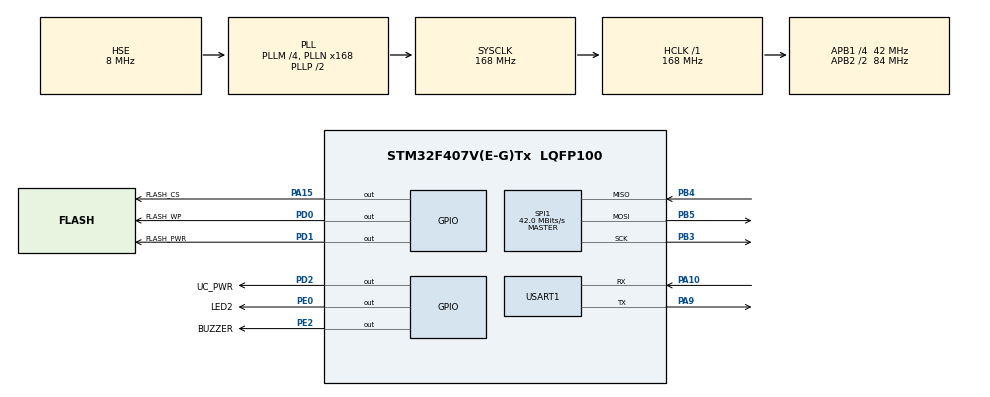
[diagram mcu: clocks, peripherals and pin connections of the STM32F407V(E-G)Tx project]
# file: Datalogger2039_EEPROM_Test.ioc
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Mcu.Family=STM32F4
RCC.PLLSourceVirtual=RCC_PLLSOURCE_HSE
PH0-OSC_IN.Signal=RCC_OSC_IN
RCC.CortexFreq_Value=168000000
PA10.Mode=Asynchronous
SPI1.VirtualType=VM_MASTER
VP_IWDG_VS_IWDG.Mode=IWDG_Activate
PE2.GPIO_Speed=GPIO_SPEED_FREQ_VERY_HIGH
PD0.GPIO_Label=FLASH_WP
PD1.Signal=GPIO_Output
PD2.GPIO_Speed=GPIO_SPEED_FREQ_VERY_HIGH
RCC.APB1CLKDivider=RCC_HCLK_DIV4
RCC.SYSCLKSource=RCC_SYSCLKSOURCE_PLLCLK
ProjectManager.StackSize=0x400
PD0.GPIO_Speed=GPIO_SPEED_FREQ_VERY_HIGH
PE0.GPIO_Speed=GPIO_SPEED_FREQ_VERY_HIGH
PA15.GPIO_Label=FLASH_CS
PA9.Mode=Asynchronous
ProjectManager.TargetToolchain=STM32CubeIDE
SPI1.Direction=SPI_DIRECTION_2LINES
RCC.HCLKFreq_Value=168000000
RCC.APB2TimFreq_Value=168000000
PA9.Signal=USART1_TX
SPI1.CalculateBaudRate=42.0 MBits/s
PD0.Signal=GPIO_Output
RCC.LSE_VALUE=32768
RCC.AHBFreq_Value=168000000
PH0-OSC_IN.Mode=HSE-External-Oscillator
RCC.HSE_VALUE=8000000
PD2.PinState=GPIO_PIN_SET
PB3.Mode=Full_Duplex_Master
board=custom
RCC.VCOOutputFreq_Value=336000000
PD1.GPIO_Label=FLASH_PWR
PA15.PinState=GPIO_PIN_SET
RCC.APB2Freq_Value=84000000
PB4.Mode=Full_Duplex_Master
PD1.GPIO_Speed=GPIO_SPEED_FREQ_VERY_HIGH
SPI1.Mode=SPI_MODE_MASTER
PB5.Mode=Full_Duplex_Master
PH1-OSC_OUT.Signal=RCC_OSC_OUT
PE2.Signal=GPIO_Output
Mcu.Name=STM32F407V(E-G)Tx
PE0.Signal=GPIO_Output
PH1-OSC_OUT.Mode=HSE-External-Oscillator
RCC.48MHZClocksFreq_Value=84000000
PB3.Signal=SPI1_SCK
RCC.SYSCLKFreq_VALUE=168000000
Mcu.Package=LQFP100
PB5.Signal=SPI1_MOSI
USART1.VirtualMode=VM_ASYNC
PA15.GPIO_Speed=GPIO_SPEED_FREQ_VERY_HIGH
PA10.Signal=USART1_RX
PA15.Signal=GPIO_Output
ProjectManager.HeapSize=0x200
PE0.GPIO_Label=LED2
RCC.HSI_VALUE=16000000
NVIC.PriorityGroup=NVIC_PRIORITYGROUP_4
RCC.APB2CLKDivider=RCC_HCLK_DIV2
RCC.PLLM=4
RCC.PLLN=168
IWDG.Prescaler=IWDG_PRESCALER_32
RCC.APB1TimFreq_Value=84000000
PD2.Signal=GPIO_Output
NVIC.USART1_IRQn=true\:0\:0\:false\:false\:true\:true\:true
RCC.APB1Freq_Value=42000000
PE2.GPIO_Label=BUZZER
PD2.GPIO_Label=UC_PWR
PB4.Signal=SPI1_MISO

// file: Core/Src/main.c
/* USER CODE BEGIN Header */
/**
 ******************************************************************************
 * @file           : main.c
 * @brief          : Main program body
 ******************************************************************************
 * @attention
 *
 * <h2><center>&copy; Copyright (c) 2021 STMicroelectronics.
 * All rights reserved.</center></h2>
 *
 * This software component is licensed by ST under BSD 3-Clause license,
 * the "License"; You may not use this file except in compliance with the
 * License. You may obtain a copy of the License at:
 *                        opensource.org/licenses/BSD-3-Clause
 *
 ******************************************************************************
 */
/* USER CODE END Header */
#include "main.h"

/* USER CODE BEGIN Includes */
#include <stdio.h>
#include <stdlib.h>
#include <time.h>
#include "w25qxx.h"
#include "dwt_stm32_delay.h"
#include "IWDG_Delay.h"
/* USER CODE END Includes */

/* USER CODE BEGIN PD */
#ifndef FALSE
#define FALSE 0U
#endif

#ifndef TRUE
#define TRUE  1U
#endif

#define W25Q64_ID 7
/* USER CODE END PD */

IWDG_HandleTypeDef hiwdg;

SPI_HandleTypeDef hspi1;

UART_HandleTypeDef huart1;

/* USER CODE BEGIN PV */
uint8_t FLASH_Error = FALSE;
char str[80];
/* USER CODE END PV */

void SystemClock_Config(void);
static void MX_GPIO_Init(void);
static void MX_IWDG_Init(void);
static void MX_SPI1_Init(void);
static void MX_USART1_UART_Init(void);

/* USER CODE BEGIN 0 */
void W25Q64_init(void) {
	if (!W25qxx_Init()) {
		UsrLog("W25qxx_Init: fail");

		for (uint8_t i = 0; i < 4; i++) {
			if (!W25qxx_Init()) {
				UsrLog("W25qxx_Init: fail");
			} else {
				UsrLog("W25qxx_Init: ok");
				i = 4;
			}

			IWDG_delay_ms(500);
		}
	}

	IWDG_delay_ms(0);

	if (w25qxx.ID != W25Q64_ID) {
		for (uint8_t i = 0; i < 4; i++) {
			IWDG_delay_ms(500);
		}

		FLASH_Error = TRUE;

		UsrLog("W25Q64_ID: error");
	} else {
		FLASH_Error = FALSE;
	}

	W25qxx_ReadUniqID();

	UsrLog("W25Q64 UniqID: %02X%02X%02X%02X%02X%02X%02X%02X", w25qxx.UniqID[0],
			w25qxx.UniqID[1], w25qxx.UniqID[2], w25qxx.UniqID[3],
			w25qxx.UniqID[4], w25qxx.UniqID[5], w25qxx.UniqID[6],
			w25qxx.UniqID[7]);
}
/* USER CODE END 0 */

int main(void) {
	/* USER CODE BEGIN 1 */
	time_t t;
	srand((unsigned) time(&t));
	UsrLog("%d", rand() % 50);
	UsrLog("%d", rand() % 256);
	/* USER CODE END 1 */

	/* MCU Configuration--------------------------------------------------------*/

	/* Reset of all peripherals, Initializes the Flash interface and the Systick. */
	HAL_Init();

	/* USER CODE BEGIN Init */
	if (DWT_Delay_Init()) {
		Error_Handler(); /* Call Error Handler */
	}
	/* USER CODE END Init */

	/* Configure the system clock */
	SystemClock_Config();

	/* Initialize all configured peripherals */
	MX_GPIO_Init();
	MX_IWDG_Init();
	MX_SPI1_Init();
	MX_USART1_UART_Init();
	/* USER CODE BEGIN 2 */
	W25Q64_init();
	/* USER CODE END 2 */

	/* Infinite loop */
	while (1) {

		/* USER CODE BEGIN 3 */
		W25qxx_ReadUniqID();

		UsrLog("SysTick: %lu; W25Q64 UniqID: %02X%02X%02X%02X%02X%02X%02X%02X",
				HAL_GetTick(), w25qxx.UniqID[0], w25qxx.UniqID[1],
				w25qxx.UniqID[2], w25qxx.UniqID[3], w25qxx.UniqID[4],
				w25qxx.UniqID[5], w25qxx.UniqID[6], w25qxx.UniqID[7]);

		uint8_t buff1[256];
		uint8_t buff2[256];
		uint32_t Page_Address = 0;
		uint32_t SectorAddr = 0;

		for (int i = 0; i < 256; i++) {
			buff1[i] = rand() % 256;
		}

		UsrLog("Rand() data:");

		for (int i = 0; i < 16; i++) {
			UsrLog(
					"%02X %02X %02X %02X %02X %02X %02X %02X %02X %02X %02X %02X %02X %02X %02X %02X"
							"", buff1[i * 8], buff1[(i * 8) + 1],
					buff1[(i * 8) + 2], buff1[(i * 8) + 3], buff1[(i * 8) + 4],
					buff1[(i * 8) + 5], buff1[(i * 8) + 6], buff1[(i * 8) + 7],
					buff1[(i * 8) + 8], buff1[(i * 8) + 9], buff1[(i * 8) + 10],
					buff1[(i * 8) + 11], buff1[(i * 8) + 12],
					buff1[(i * 8) + 13], buff1[(i * 8) + 14],
					buff1[(i * 8) + 15]);
		}

		/*
		 * <<< Caution: EEPROM data will be erased!!! >>>
		 */

/* Uncomment the lines below to erase and write to EEPROM: */
//		/* Erase EEPROM */
//		W25qxx_EraseSector(SectorAddr);
//
//		/* Write random data */
//		W25qxx_WritePage(buff1, Page_Address, 0, 256);

		/* Read data */
		W25qxx_ReadPage(buff2, Page_Address, 0, 256);

		UsrLog("W25Q64 data:");
		for (int i = 0; i < 16; i++) {
			UsrLog(
					"%02X %02X %02X %02X %02X %02X %02X %02X %02X %02X %02X %02X %02X %02X %02X %02X"
							"", buff2[i * 8], buff2[(i * 8) + 1],
					buff2[(i * 8) + 2], buff2[(i * 8) + 3], buff2[(i * 8) + 4],
					buff2[(i * 8) + 5], buff2[(i * 8) + 6], buff2[(i * 8) + 7],
					buff2[(i * 8) + 8], buff2[(i * 8) + 9], buff2[(i * 8) + 10],
					buff2[(i * 8) + 11], buff2[(i * 8) + 12],
					buff2[(i * 8) + 13], buff2[(i * 8) + 14],
					buff2[(i * 8) + 15]);
		}

		/* Compare data */
		int comp = 0;

		for (int i = 0; i < 256; i++) {
			if (buff1[i] != buff2[i]) {
				comp++;
			}
		}

		if (comp > 0) {
			UsrLog("Write random data: Error");
		} else {
			UsrLog("Write random data: OK");
		}

		IWDG_delay_ms(10000);
	}
	/* USER CODE END 3 */
}

void SystemClock_Config(void) {
	RCC_OscInitTypeDef RCC_OscInitStruct = { 0 };
	RCC_ClkInitTypeDef RCC_ClkInitStruct = { 0 };

	/** Configure the main internal regulator output voltage
	 */
	__HAL_RCC_PWR_CLK_ENABLE();
	__HAL_PWR_VOLTAGESCALING_CONFIG(PWR_REGULATOR_VOLTAGE_SCALE1);
	/** Initializes the RCC Oscillators according to the specified parameters
	 * in the RCC_OscInitTypeDef structure.
	 */
	RCC_OscInitStruct.OscillatorType = RCC_OSCILLATORTYPE_LSI
			| RCC_OSCILLATORTYPE_HSE;
	RCC_OscInitStruct.HSEState = RCC_HSE_ON;
	RCC_OscInitStruct.LSIState = RCC_LSI_ON;
	RCC_OscInitStruct.PLL.PLLState = RCC_PLL_ON;
	RCC_OscInitStruct.PLL.PLLSource = RCC_PLLSOURCE_HSE;
	RCC_OscInitStruct.PLL.PLLM = 4;
	RCC_OscInitStruct.PLL.PLLN = 168;
	RCC_OscInitStruct.PLL.PLLP = RCC_PLLP_DIV2;
	RCC_OscInitStruct.PLL.PLLQ = 4;
	if (HAL_RCC_OscConfig(&RCC_OscInitStruct) != HAL_OK) {
		Error_Handler();
	}
	/** Initializes the CPU, AHB and APB buses clocks
	 */
	RCC_ClkInitStruct.ClockType = RCC_CLOCKTYPE_HCLK | RCC_CLOCKTYPE_SYSCLK
			| RCC_CLOCKTYPE_PCLK1 | RCC_CLOCKTYPE_PCLK2;
	RCC_ClkInitStruct.SYSCLKSource = RCC_SYSCLKSOURCE_PLLCLK;
	RCC_ClkInitStruct.AHBCLKDivider = RCC_SYSCLK_DIV1;
	RCC_ClkInitStruct.APB1CLKDivider = RCC_HCLK_DIV4;
	RCC_ClkInitStruct.APB2CLKDivider = RCC_HCLK_DIV2;

	if (HAL_RCC_ClockConfig(&RCC_ClkInitStruct, FLASH_LATENCY_5) != HAL_OK) {
		Error_Handler();
	}
}

static void MX_IWDG_Init(void) {

	hiwdg.Instance = IWDG;
	hiwdg.Init.Prescaler = IWDG_PRESCALER_32;
	hiwdg.Init.Reload = 4095;
	if (HAL_IWDG_Init(&hiwdg) != HAL_OK) {
		Error_Handler();
	}

}

static void MX_SPI1_Init(void) {

	/* SPI1 parameter configuration*/
	hspi1.Instance = SPI1;
	hspi1.Init.Mode = SPI_MODE_MASTER;
	hspi1.Init.Direction = SPI_DIRECTION_2LINES;
	hspi1.Init.DataSize = SPI_DATASIZE_8BIT;
	hspi1.Init.CLKPolarity = SPI_POLARITY_LOW;
	hspi1.Init.CLKPhase = SPI_PHASE_1EDGE;
	hspi1.Init.NSS = SPI_NSS_SOFT;
	hspi1.Init.BaudRatePrescaler = SPI_BAUDRATEPRESCALER_2;
	hspi1.Init.FirstBit = SPI_FIRSTBIT_MSB;
	hspi1.Init.TIMode = SPI_TIMODE_DISABLE;
	hspi1.Init.CRCCalculation = SPI_CRCCALCULATION_DISABLE;
	hspi1.Init.CRCPolynomial = 10;
	if (HAL_SPI_Init(&hspi1) != HAL_OK) {
		Error_Handler();
	}

}

static void MX_USART1_UART_Init(void) {

	huart1.Instance = USART1;
	huart1.Init.BaudRate = 115200;
	huart1.Init.WordLength = UART_WORDLENGTH_8B;
	huart1.Init.StopBits = UART_STOPBITS_1;
	huart1.Init.Parity = UART_PARITY_NONE;
	huart1.Init.Mode = UART_MODE_TX_RX;
	huart1.Init.HwFlowCtl = UART_HWCONTROL_NONE;
	huart1.Init.OverSampling = UART_OVERSAMPLING_16;
	if (HAL_UART_Init(&huart1) != HAL_OK) {
		Error_Handler();
	}

}

static void MX_GPIO_Init(void) {
	GPIO_InitTypeDef GPIO_InitStruct = { 0 };

	/* GPIO Ports Clock Enable */
	__HAL_RCC_GPIOE_CLK_ENABLE();
	__HAL_RCC_GPIOH_CLK_ENABLE();
	__HAL_RCC_GPIOA_CLK_ENABLE();
	__HAL_RCC_GPIOD_CLK_ENABLE();
	__HAL_RCC_GPIOB_CLK_ENABLE();

	/*Configure GPIO pin Output Level */
	HAL_GPIO_WritePin(GPIOE, BUZZER_Pin | LED2_Pin, GPIO_PIN_RESET);

	/*Configure GPIO pin Output Level */
	HAL_GPIO_WritePin(FLASH_CS_GPIO_Port, FLASH_CS_Pin, GPIO_PIN_SET);

	/*Configure GPIO pin Output Level */
	HAL_GPIO_WritePin(GPIOD, FLASH_WP_Pin | FLASH_PWR_Pin, GPIO_PIN_RESET);

	/*Configure GPIO pin Output Level */
	HAL_GPIO_WritePin(UC_PWR_GPIO_Port, UC_PWR_Pin, GPIO_PIN_SET);

	/*Configure GPIO pins : BUZZER_Pin LED2_Pin */
	GPIO_InitStruct.Pin = BUZZER_Pin | LED2_Pin;
	GPIO_InitStruct.Mode = GPIO_MODE_OUTPUT_PP;
	GPIO_InitStruct.Pull = GPIO_NOPULL;
	GPIO_InitStruct.Speed = GPIO_SPEED_FREQ_VERY_HIGH;
	HAL_GPIO_Init(GPIOE, &GPIO_InitStruct);

	/*Configure GPIO pin : FLASH_CS_Pin */
	GPIO_InitStruct.Pin = FLASH_CS_Pin;
	GPIO_InitStruct.Mode = GPIO_MODE_OUTPUT_PP;
	GPIO_InitStruct.Pull = GPIO_NOPULL;
	GPIO_InitStruct.Speed = GPIO_SPEED_FREQ_VERY_HIGH;
	HAL_GPIO_Init(FLASH_CS_GPIO_Port, &GPIO_InitStruct);

	/*Configure GPIO pins : FLASH_WP_Pin FLASH_PWR_Pin UC_PWR_Pin */
	GPIO_InitStruct.Pin = FLASH_WP_Pin | FLASH_PWR_Pin | UC_PWR_Pin;
	GPIO_InitStruct.Mode = GPIO_MODE_OUTPUT_PP;
	GPIO_InitStruct.Pull = GPIO_NOPULL;
	GPIO_InitStruct.Speed = GPIO_SPEED_FREQ_VERY_HIGH;
	HAL_GPIO_Init(GPIOD, &GPIO_InitStruct);

}

/* USER CODE BEGIN 4 */
int __io_putchar(int ch) {
	uint8_t c[1];
	c[0] = ch & 0x00FF;
	HAL_UART_Transmit(&huart1, &*c, 1, 10);
	return ch;
}

int _write(int file, char *ptr, int len) {
	int DataIdx;
	for (DataIdx = 0; DataIdx < len; DataIdx++) {
		__io_putchar(*ptr++);
	}
	return len;
}
/* USER CODE END 4 */

void Error_Handler(void) {
	__disable_irq();
	while (1) {
	}
}

/************************ (C) COPYRIGHT STMicroelectronics *****END OF FILE****/
